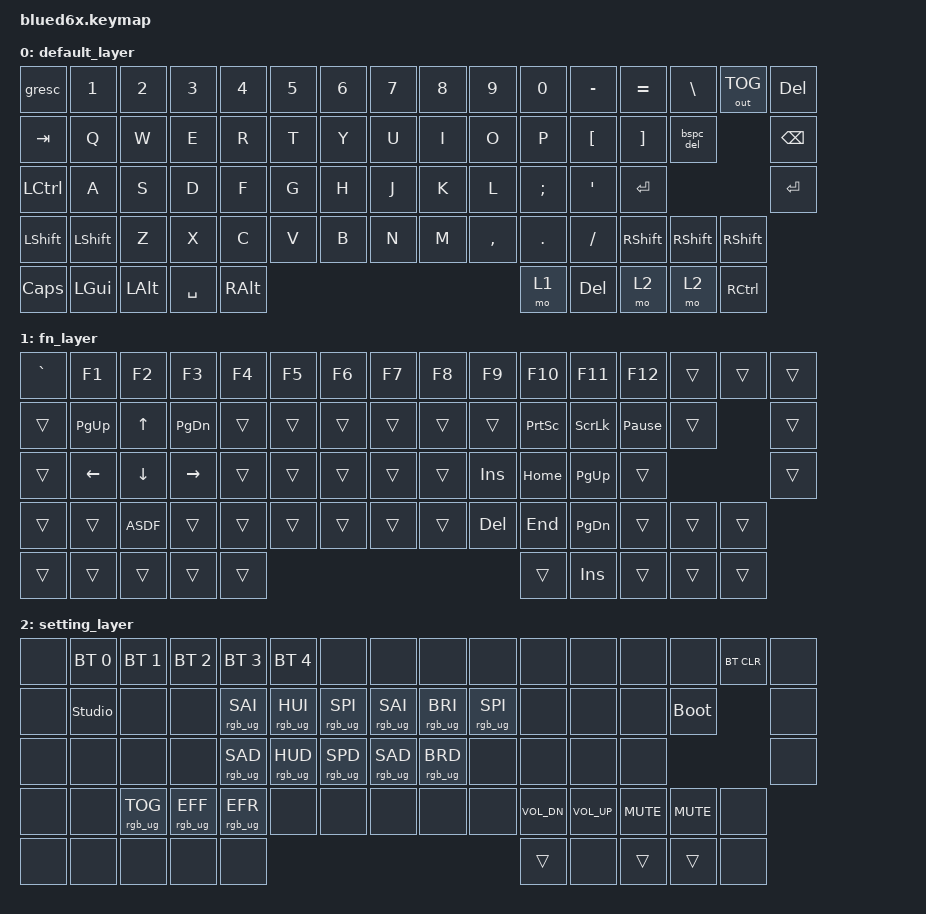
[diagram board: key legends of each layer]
#include <behaviors.dtsi>
#include <dt-bindings/zmk/keys.h>
#include <dt-bindings/zmk/bt.h>
#include <dt-bindings/zmk/outputs.h>
#include <dt-bindings/zmk/rgb.h>
// #include <dt-bindings/zmk/mouse.h>

/ {
	keymap0: keymap {
		compatible = "zmk,keymap";

		default_layer {
			bindings = <
	&gresc    			&kp N1	&kp N2	&kp N3 &kp N4 &kp N5 &kp N6 &kp N7 &kp N8		&kp N9	&kp N0  	&kp MINUS &kp EQUAL &kp BSLH &out OUT_TOG &kp DEL
	&kp TAB   			&kp Q 	&kp W 	&kp E  &kp R  &kp T  &kp Y  &kp U  &kp I 		&kp O 	&kp P   	&kp LBKT  &kp RBKT  &bspc_del             &kp BSPC
	&kp LCTRL 			&kp A 	&kp S 	&kp D  &kp F  &kp G  &kp H  &kp J  &kp K 		&kp L 	&kp SEMI	&kp SQT   &kp RET                         &kp RET
	&kp LSHFT &kp LSHFT &kp Z	&kp X	&kp C  &kp V  &kp B  &kp N  &kp M  &kp COMMA	&kp DOT	&kp FSLH	&kp RSHFT &kp RSHFT             &kp RSHFT
	&kp CLCK  &kp LGUI  &kp LALT               &kp SPACE                   &kp RALT 	&mo 1  	&kp DEL 	&mo 2     &mo 2                 &kp RCTRL
			>;
		};

		fn_layer {
			bindings = <
	&kp GRAVE &kp F1 &kp F2 &kp F3 &kp F4 &kp F5 &kp F6 &kp F7 &kp   F8  &kp  F9 &kp  F10  &kp F11 &kp F12 &trans &trans &trans
	&trans &kp PG_UP &kp UP   &kp PG_DN &trans  &trans  &trans  &trans  &trans &trans  &kp PSCRN &kp SLCK  &kp PAUSE_BREAK &trans &trans
	&trans &kp LEFT  &kp DOWN &kp RIGHT &trans  &trans  &trans  &trans  &trans &kp INS &kp HOME  &kp PG_UP &trans &trans
	&trans &trans    &ASDF   &trans    &trans  &trans  &trans  &trans  &trans &kp DEL &kp END   &kp PG_DN &trans &trans   &trans
	&trans &trans    &trans             &trans                  &trans  &trans  &kp  INS &trans &trans &trans
			>;
		};

		setting_layer {
			bindings = <
	&none 		&bt BT_SEL 0 &bt BT_SEL 1 &bt BT_SEL 2 &bt BT_SEL 3 &bt BT_SEL 4 &none &none &none &none &none &none &none &none &bt BT_CLR &none
	&none 		&studio_unlock &none &none &rgb_ug RGB_SAI &rgb_ug RGB_HUI &rgb_ug RGB_SPI &rgb_ug RGB_SAI &rgb_ug RGB_BRI &rgb_ug RGB_SPI &none &none &none  &bootloader &none
	&none 		&none &none &none &rgb_ug RGB_SAD &rgb_ug RGB_HUD &rgb_ug RGB_SPD &rgb_ug RGB_SAD &rgb_ug RGB_BRD &none &none &none &none &none
	&none &none &rgb_ug RGB_TOG &rgb_ug RGB_EFF &rgb_ug RGB_EFR &none &none &none &none &none &kp C_VOL_DN &kp C_VOL_UP &kp C_MUTE &kp C_MUTE &none
	&none &none &none             &none                   &none &trans &none  &trans &trans &none
			>;
		};
	};
};

/ {
    behaviors {
        bspc_del: backspace_delete {
            compatible = "zmk,behavior-mod-morph";
            #binding-cells = <0>;
            bindings = <&kp BACKSPACE>, <&kp DELETE>;
            mods = <(MOD_LSFT|MOD_RSFT)>;
            keep-mods = <(MOD_RSFT)>;
        };
        gresc: grave_escape {
            compatible = "zmk,behavior-mod-morph";
            #binding-cells = <0>;
            bindings = <&kp ESC>, <&kp GRAVE>;
            mods = <(MOD_LGUI|MOD_LSFT|MOD_RGUI|MOD_RSFT)>;
            keep-mods = <(MOD_LGUI|MOD_LSFT|MOD_RGUI|MOD_RSFT)>;
        };
    };
};

/ {
    macros {
        ASDF: ASDF {
            compatible = "zmk,behavior-macro";
            #binding-cells = <0>;
            bindings = <&kp LS(A) &kp LS(S) &kp LS(D) &kp LS(F) &kp Q &kp W &kp E &kp R &kp N1 &kp N2 &kp N3 &kp N4 &kp EXCL &kp AT &kp POUND &kp DLLR>;
        };
    };
};
